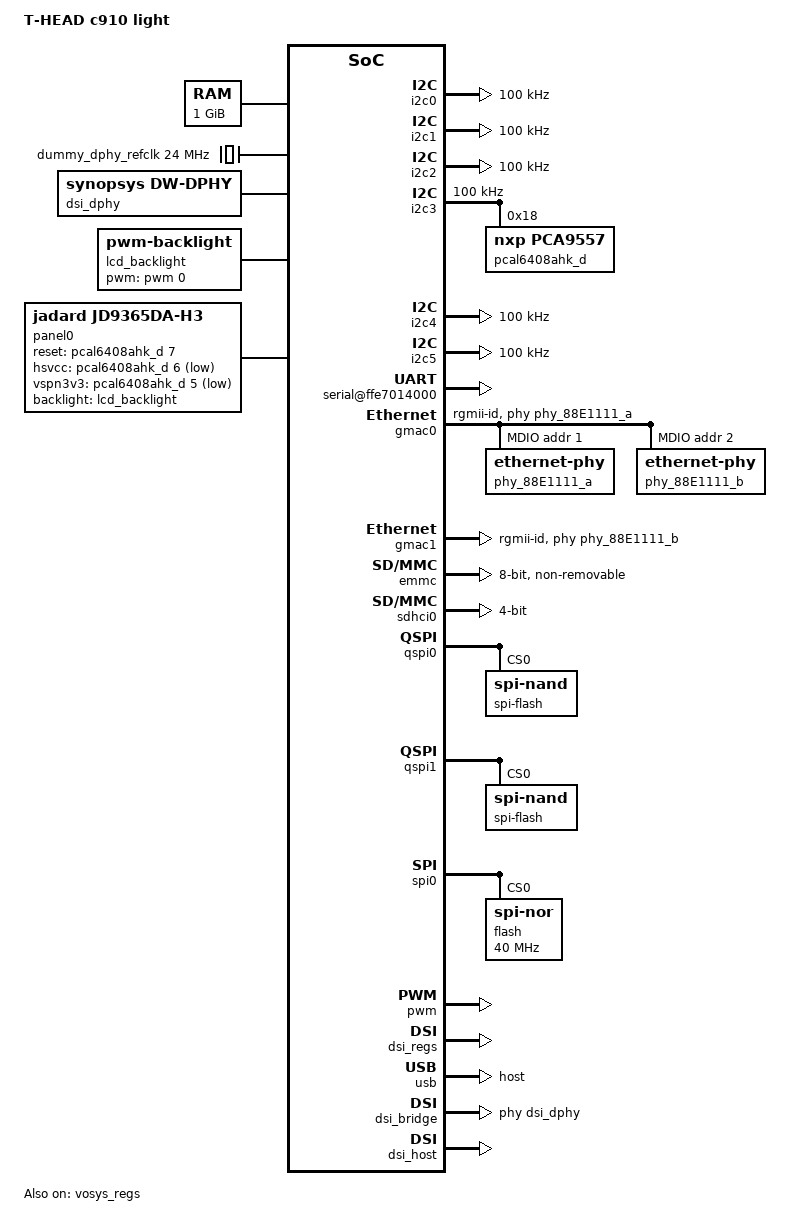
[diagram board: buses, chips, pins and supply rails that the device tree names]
/dts-v1/;

#include <dt-bindings/pmic/light_pmic.h>

/ {
	model = "T-HEAD c910 light";
	compatible = "thead,c910_light";
	#address-cells = <2>;
	#size-cells = <2>;

	memory@0 {
		device_type = "memory";
		reg = <0x0 0xc0000000 0x0 0x40000000>;
	};

	aliases {
		spi0 = &spi0;
		spi1 = &qspi0;
		spi2 = &qspi1;
	};

	cpus {
		#address-cells = <1>;
		#size-cells = <0>;
		timebase-frequency = <3000000>;
		u-boot,dm-pre-reloc;
		cpu@0 {
			device_type = "cpu";
			reg = <0>;
			status = "okay";
			compatible = "riscv";
			riscv,isa = "rv64imafdcvsu";
			mmu-type = "riscv,sv39";
			u-boot,dm-pre-reloc;
		};
	};

	soc {
		#address-cells = <2>;
		#size-cells = <2>;
		compatible = "simple-bus";
		ranges;
		u-boot,dm-pre-reloc;

		intc: interrupt-controller@ffd8000000 {
			compatible = "riscv,plic0";
			reg = <0xff 0xd8000000 0x0 0x04000000>;
			status = "disabled";
		};

		dummy_apb: apb-clock {
			compatible = "fixed-clock";
			clock-frequency = <62500000>;
			clock-output-names = "dummy_apb";
			#clock-cells = <0>;
			u-boot,dm-pre-reloc;
		};

		dummy_ahb: ahb-clock {
			compatible = "fixed-clock";
			clock-frequency = <250000000>;
			clock-output-names = "core";
			#clock-cells = <0>;
			u-boot,dm-pre-reloc;
		};

		dummy_spi: spi-clock {
			compatible = "fixed-clock";
			clock-frequency = <396000000>;
			clock-output-names = "dummy_spi";
			#clock-cells = <0>;
			u-boot,dm-pre-reloc;
		};

		dummy_qspi0: qspi0-clock {
			compatible = "fixed-clock";
			clock-frequency = <792000000>;
			clock-output-names = "dummy_qspi0";
			#clock-cells = <0>;
			u-boot,dm-pre-reloc;
		};

		dummy_uart_sclk: uart-sclk-clock {
			compatible = "fixed-clock";
			clock-frequency = <100000000>;
			clock-output-names = "dummy_uart_sclk";
			#clock-cells = <0>;
			u-boot,dm-pre-reloc;
		};

		dummy_i2c_icclk: i2c-icclk-clock {
			compatible = "fixed-clock";
			clock-frequency = <50000000>;
			clock-output-names = "dummy_i2c_icclk";
			#clock-cells = <0>;
			u-boot,dm-pre-reloc;
		};

		dummy_dpu_pixclk: dpu-pix-clock {
			compatible = "fixed-clock";
			clock-frequency = <74250000>;
			clock-output-names = "dummy_dpu_pixclk";
			#clock-cells = <0>;
			u-boot,dm-pre-reloc;
		};

		dummy_dphy_refclk: dphy-ref-clock {
			compatible = "fixed-clock";
			clock-frequency = <24000000>;
			clock-output-names = "dummy_dpu_refclk";
			#clock-cells = <0>;
			u-boot,dm-pre-reloc;
		};

		i2c0: i2c@ffe7f20000 {
			compatible = "snps,designware-i2c";
			reg = <0xff 0xe7f20000 0x0 0x4000>;
			clocks = <&dummy_i2c_icclk>;
			clock-frequency = <100000>;

			#address-cells = <1>;
			#size-cells = <0>;
		};

		i2c1: i2c@ffe7f24000{
			compatible = "snps,designware-i2c";
			reg = <0xff 0xe7f24000 0x0 0x4000>;
			clocks = <&dummy_i2c_icclk>;
			clock-frequency = <100000>;

			#address-cells = <1>;
			#size-cells = <0>;
		};

		i2c2: i2c@ffec00c000{
			compatible = "snps,designware-i2c";
			reg = <0xff 0xec00c000 0x0 0x4000>;
			clocks = <&dummy_i2c_icclk>;
			clock-frequency = <100000>;

			#address-cells = <1>;
			#size-cells = <0>;
		};

		i2c3: i2c@ffec014000{
			compatible = "snps,designware-i2c";
			reg = <0xff 0xec014000 0x0 0x4000>;
			clocks = <&dummy_i2c_icclk>;
			clock-frequency = <100000>;

			#address-cells = <1>;
			#size-cells = <0>;

			pcal6408ahk_d: gpio@20 {
				compatible = "nxp,pca9557";
				reg = <0x18>;
				gpio-controller;
				#gpio-cells = <2>;
			};
		};

		i2c4: i2c@ffe7f28000{
			compatible = "snps,designware-i2c";
			reg = <0xff 0xe7f28000 0x0 0x4000>;
			clocks = <&dummy_i2c_icclk>;
			clock-frequency = <100000>;

			#address-cells = <1>;
			#size-cells = <0>;
		};

		i2c5: i2c@fff7f2c000{
			compatible = "snps,designware-i2c";
			reg = <0xff 0xf7f2c000 0x0 0x4000>;
			clocks = <&dummy_i2c_icclk>;
			clock-frequency = <100000>;

			#address-cells = <1>;
			#size-cells = <0>;
		};

		serial@ffe7014000 {
			compatible = "snps,dw-apb-uart";
			reg = <0xff 0xe7014000 0x0 0x400>;
			clocks = <&dummy_uart_sclk>;
			clock-frequency = <100000000>;
			clock-names = "baudclk";
			reg-shift = <2>;
			reg-io-width = <4>;
			u-boot,dm-pre-reloc;
		};

		gmac0: ethernet@ffe7070000 {
			compatible = "snps,dwmac";
			reg = <0xff 0xe7070000 0x0 0x2000>;
			clocks = <&dummy_apb>;
			clock-names = "stmmaceth";
			snps,pbl = <32>;
			snps,fixed-burst;

			phy-mode = "rgmii-id";
			phy-handle = <&phy_88E1111_a>;
			status = "okay";
			mdio0 {
				#address-cells = <1>;
				#size-cells = <0>;
				compatible = "snps,dwmac-mdio";

				phy_88E1111_a: ethernet-phy@1 {
					reg = <0x1>;
				};

				phy_88E1111_b: ethernet-phy@2 {
					reg = <0x2>;
				};
			};
		};

		gmac1: ethernet@ffe7060000 {
			compatible = "snps,dwmac";
			reg = <0xff 0xe7060000 0x0 0x2000>;
			clocks = <&dummy_apb>;
			clock-names = "stmmaceth";
			snps,pbl = <32>;
			snps,fixed-burst;
			phy-mode = "rgmii-id";
			phy-handle = <&phy_88E1111_b>;
			status = "okay";
		};

		emmc: sdhci@ffe7080000 {
			compatible = "snps,dwcmshc-sdhci";
			reg = <0xff 0xe7080000 0x0 0x10000>;
			index = <0x0>;
			clocks = <&dummy_ahb>;
			clock-frequency = <198000000>;
			clock-names = "core";
			max-frequency = <198000000>;
			sdhci-caps-mask = <0x0 0x1000000>;
			mmc-hs400-1_8v;
			non-removable;
			no-sdio;
			no-sd;
			bus-width = <8>;
			voltage= "1.8v";
			pull_up;
			io_fixed_1v8;
			fifo-mode;
			u-boot,dm-pre-reloc;
		};

		sdhci0: sd@ffe7090000 {
			compatible = "snps,dwcmshc-sdhci";
			reg = <0xff 0xe7090000 0x0 0x10000>;
			index = <0x1>;
			clocks = <&dummy_ahb>;
			clock-frequency = <198000000>;
			max-frequency = <198000000>;
			sd-uhs-sdr104;
			pull_up;
			clock-names = "core";
			bus-width = <4>;
			voltage= "3.3v";
		};

		qspi0: spi@ffea000000 {
			compatible = "snps,dw-apb-ssi-quad";
			reg = <0xff 0xea000000 0x0 0x1000>;
			clocks = <&dummy_qspi0>;
			num-cs = <1>;
			cs-gpio = <&gpio2_porta 3 0>; // GPIO_ACTIVE_HIGH: 0
			spi-max-frequency = <100000000>;
			#address-cells = <1>;
			#size-cells =<0>;
			spi-flash@0 {
				#address-cells = <1>;
				#size-cells = <1>;
				compatible = "spi-nand";
				spi-tx-bus-width = <4>;
				spi-rx-bus-width = <4>;
				reg = <0>;
			};
		};

		qspi1: spi@fff8000000 {
			compatible = "snps,dw-apb-ssi-quad";
			reg = <0xff 0xf8000000 0x0 0x1000>;
			clocks = <&dummy_spi>;
			num-cs = <1>;
			cs-gpio = <&gpio0_porta 1 0>; // GPIO_ACTIVE_HIGH: 0
			spi-max-frequency = <66000000>;
			#address-cells = <1>;
			#size-cells =<0>;
			spi-flash@0 {
				#address-cells = <1>;
				#size-cells = <1>;
				compatible = "spi-nand";
				spi-tx-bus-width = <4>;
				spi-rx-bus-width = <4>;
				reg = <0>;
			};
		};

		spi0: spi@ffe700c000 {
			compatible = "snps,dw-apb-ssi";
			reg = <0xff 0xe700c000 0x0 0x1000>;
			clocks = <&dummy_spi>;
			cs-gpio = <&gpio2_porta 15 0>;
			spi-max-frequency = <100000000>;
			#address-cells = <1>;
			#size-cells = <0>;
			flash@0 {
				compatible = "jedec,spi-nor";
				reg = <0>;
				spi-max-frequency = <40000000>;
			};
		};

		gpio2: gpio@ffe7f34000 {
			compatible = "snps,dw-apb-gpio";
			reg = <0xff 0xe7f34000 0x0 0x1000>;
			clocks = <&dummy_apb>;
			#address-cells = <1>;
			#size-cells = <0>;
			gpio2_porta: gpio-controller@0 {
				compatible = "snps,dw-apb-gpio-port";
				gpio-controller;
				#gpio-cells = <2>;
				snps,nr-gpios = <32>;
				reg = <0>;
			};
		};

		gpio0: gpio@ffec005000 {
			compatible = "snps,dw-apb-gpio";
			reg = <0xff 0xec005000 0x0 0x1000>;
			clocks = <&dummy_apb>;
			#address-cells = <1>;
			#size-cells = <0>;
			gpio0_porta: gpio-controller@0 {
				compatible = "snps,dw-apb-gpio-port";
				gpio-controller;
				#gpio-cells = <2>;
				snps,nr-gpios = <32>;
				reg = <0>;
			};
		};

		gpio1: gpio@ffec006000 {
			compatible = "snps,dw-apb-gpio";
			reg = <0xff 0xec006000 0x0 0x1000>;
			clocks = <&dummy_apb>;
			#address-cells = <1>;
			#size-cells = <0>;

			gpio1_porta: gpio-controller@0 {
				compatible = "snps,dw-apb-gpio-port";
				gpio-controller;
				#gpio-cells = <2>;
				snps,nr-gpios = <32>;
				reg = <0>;
			};
		};

		pwm: pwm@ffec01c000 {
			compatible = "thead,pwm-light";
			reg = <0xff 0xec01c000 0x0 0x4000>;
			#pwm-cells = <2>;
		};

		dsi_regs: dsi-controller@ffef500000 {
			compatible = "thead,light-dsi-regs", "syscon";
			reg = <0xff 0xef500000 0x0 0x10000>;
			status = "okay";
		};

		vosys_regs: vosys@ffef528000 {
			compatible = "thead,light-vo-subsys", "syscon";
			reg = <0xff 0xef528000 0x0 0x1000>;
			status = "okay";
		};

		dpu: dc8200@ffef600000 {
			compatible = "verisilicon,dc8200";
			reg = <0xff 0xef600000 0x0 0x100>;
		};

		usb: usb@ffe7040000 {
			compatible = "snps,dwc3";
			reg = <0xff 0xe7040000 0x0 0x10000>;
			interrupts = <68>;
			reg-shift = <2>;
			reg-io-width = <4>;
			maximum-speed = "super-speed";
			dr_mode = "host";
			dma-mask = <0xf 0xffffffff>;
			snps,usb3_lpm_capable;
			snps,usb_sofitpsync;
			status = "okay";
		};

		axiscr {
			compatible = "thead,axiscr";
			reg = <0xff 0xff004000 0x0 0x1000>;
			lock-read = "okay";
			lock-write = "okay";
			#address-cells = <2>;
			#size-cells = <2>;
			u-boot,dm-pre-reloc;
			axiscr0: axisrc@0 {
				device_type = "axiscr";
				region = <0x00 0x00000000 0x00 0x80000000>; // 4KB align
				status = "disabled";
				#address-cells = <2>;
				#size-cells = <2>;
				u-boot,dm-pre-reloc;
			};
			axiscr1: axisrc@1 {
				device_type = "axiscr";
				region = <0x00 0x80000000 0x00 0x80000000>; // 4KB align
				status = "disabled";
				#address-cells = <2>;
				#size-cells = <2>;
				u-boot,dm-pre-reloc;
			};
			axiscr2: axisrc@2 {
				device_type = "axiscr";
				region = <0x01 0x00000000 0x00 0x80000000>; // 4KB align
				status = "disabled";
				#address-cells = <2>;
				#size-cells = <2>;
				u-boot,dm-pre-reloc;
			};
		};

		axiparity {
			compatible = "thead,axiparity";
			reg = <0xff 0xff00c000 0x0 0x1000>;
			lock = "okay";
			#address-cells = <2>;
			#size-cells = <2>;
			u-boot,dm-pre-reloc;
			axiparity0: axiparity@0 {
				device_type = "axiparity";
				region = <0x00 0x00000000 0x01 0x0000000>; // 4KB align
				status = "disabled";
				#address-cells = <2>;
				#size-cells = <2>;
				u-boot,dm-pre-reloc;
			};
			axiparity1: axiparity@1 {
				device_type = "axiparity";
				region = <0x01 0x00000000 0x01 0x00000000>; // 4KB align
				status = "disabled";
				#address-cells = <2>;
				#size-cells = <2>;
				u-boot,dm-pre-reloc;
			};
		};

		dsi_bridge: dsi-bridge {
			compatible = "thead,light-dsi-bridge";
			clocks = <&dummy_dpu_pixclk>;
			clock-names = "pix-clk";
			phys = <&dsi_dphy>;
			phy-names = "dphy";
		};

		dsi_host: dsi-host {
			compatible = "synopsys,dw-mipi-dsi";
			regmap = <&dsi_regs>;
			status = "okay";
		};

		dsi_dphy: dsi-dphy {
			compatible = "synopsys,dw-dphy";
			regmap = <&dsi_regs>;
			vosys-regmap = <&vosys_regs>;
			clocks = <&dummy_dpu_pixclk>, <&dummy_dphy_refclk>;
			clock-names = "pix-clk", "ref-clk";
			#phy-cells = <0>;
			status = "okay";
		};

		lcd_backlight: pwm-backlight {
			compatible = "pwm-backlight";
			pwms = <&pwm 0 5000000>;
			brightness-levels = <0 4 8 16 32 64 128 255>;
			default-brightness-level = <7>;
		};

		panel0: dsi_panel0 {
			compatible      = "jadard,jd9365da-h3";
			backlight       = <&lcd_backlight>;
			reset-gpio     = <&pcal6408ahk_d 7 0>;
			hsvcc-gpio   = <&pcal6408ahk_d 6 1>;
			vspn3v3-gpio = <&pcal6408ahk_d 5 1>;
		};

		aon {
		compatible = "thead,light-aon";
		status = "okay";

		wakeup-by-gpio-on;
		wakeup-by-rtc-on;

		pd: light-aon-pd {
			compatible = "thead,light-aon-pd";
			#power-domain-cells = <1>;
		};

		light-regu-reg {
			compatible = "thead,light-dialog-pmic";
			status = "okay";



			soc_dvdd18_aon_reg: soc_dvdd18_aon {
				regulator-name = "soc_dvdd18_aon";
				regulator-boot-on;
				regulator-always-on;
			};

			soc_avdd33_usb3_reg: soc_avdd33_usb3 {
				regulator-name = "soc_avdd33_usb3";
				regulator-boot-on;
				regulator-always-on;
			};

			soc_dvdd08_aon_reg: soc_dvdd08_aon {
				regulator-name = "soc_dvdd08_aon";
				regulator-boot-on;
				regulator-always-on;
			};

			soc_apcpu_dvdd_dvddm_reg: soc_apcpu_dvdd_dvddm {
				regulator-name = "soc_apcpu_dvdd_dvddm";
				regulator-min-microvolt = <300000>;
				regulator-max-microvolt = <1570000>;
				regulator-boot-on;
				regulator-always-on;
			};

			soc_dvdd08_ddr_reg: soc_dvdd08_ddr {
				regulator-name = "soc_dvdd08_ddr";
				regulator-boot-on;
				regulator-always-on;
			};

			soc_vdd_ddr_1v8_reg: soc_vdd_ddr_1v8 {
				regulator-name = "soc_vdd_ddr_1v8";
				regulator-boot-on;
				regulator-always-on;
			};

			soc_vdd_ddr_1v1_reg: soc_vdd_ddr_1v1 {
				regulator-name = "soc_vdd_ddr_1v1";
				regulator-boot-on;
				regulator-always-on;
			};

			soc_vdd_ddr_0v6_reg: soc_vdd_ddr_0v6 {
				regulator-name = "soc_vdd_ddr_0v6";
				regulator-boot-on;
				regulator-always-on;
			};

			soc_dvdd18_ap_reg: soc_dvdd18_ap {
				regulator-name = "soc_dvdd18_ap";
				regulator-boot-on;
				regulator-always-on;
			};

			soc_dvdd08_ap_reg: soc_dvdd08_ap {
				regulator-name = "soc_dvdd08_ap";
				regulator-boot-on;
				regulator-always-on;
			};

			soc_avdd08_mipi_hdmi_reg: soc_avdd08_mipi_hdmi {
				regulator-name = "soc_avdd08_mipi_hdmi";
				regulator-boot-on;
				regulator-always-on;
			};

			soc_avdd18_mipi_hdmi_reg: soc_avdd18_mipi_hdmi {
				regulator-name = "soc_avdd18_mipi_hdmi";
				regulator-boot-on;
				regulator-always-on;
			};

			soc_dvdd33_emmc_reg: soc_dvdd33_emmc {
				regulator-name = "soc_dvdd33_emmc";
				regulator-boot-on;
				regulator-always-on;
			};

			soc_dvdd18_emmc_reg: soc_dvdd18_emmc {
				regulator-name = "soc_vdd18_emmc";
				regulator-boot-on;
				regulator-always-on;
			};
			soc_dovdd18_scan_reg: soc_dovdd18_scan {
				regulator-name = "soc_dovdd18_scan";
				regulator-min-microvolt = <900000>;
				regulator-max-microvolt = <3600000>;
			};
			soc_vext_2v8_reg: soc_vext_2v8 {
				regulator-name = "soc_vext_2v8";
				regulator-boot-on;
				regulator-always-on;
				status = "disabled";
			};
			soc_dvdd12_scan_reg: soc_dvdd12_scan {
				regulator-name = "soc_dvdd12_scan";
				regulator-min-microvolt = <900000>;
				regulator-max-microvolt = <3600000>;
			};
			soc_avdd28_scan_en_reg: soc_avdd28_scan_en {
				regulator-name = "soc_avdd28_scan_en";
				regulator-min-microvolt = <2800000>;
				regulator-max-microvolt = <2800000>;
			};
			soc_avdd28_rgb_reg: soc_avdd28_rgb {
				regulator-name = "soc_avdd28_rgb";
				regulator-min-microvolt = <2200000>;
				regulator-max-microvolt = <3475000>;
				regulator-boot-on;
				regulator-always-on;
				status = "disabled";
			};
			soc_dovdd18_rgb_reg: soc_dovdd18_rgb {
				regulator-name = "soc_dovdd18_rgb";
				regulator-min-microvolt = <1200000>;
				regulator-max-microvolt = <3600000>;
				regulator-boot-on;
				regulator-always-on;
				status = "disabled";
			};
			soc_dvdd12_rgb_reg: soc_dvdd12_rgb {
				regulator-name = "soc_dvdd12_rgb";
				regulator-min-microvolt = <400000>;
				regulator-max-microvolt = <1675000>;
				regulator-boot-on;
				regulator-always-on;
				status = "disabled";
			};
			soc_avdd25_ir_reg: soc_avdd25_ir {
				regulator-name = "soc_avdd25_ir";
				regulator-min-microvolt = <2200000>;
				regulator-max-microvolt = <3475000>;
				regulator-boot-on;
				regulator-always-on;
				status = "disabled";
			};
			soc_dovdd18_ir_reg: soc_dovdd18_ir {
				regulator-name = "soc_dovdd18_ir";
				regulator-min-microvolt = <1200000>;
				regulator-max-microvolt = <3600000>;
				regulator-boot-on;
				regulator-always-on;
				status = "disabled";
			};
			soc_dvdd12_ir_reg: soc_dvdd12_ir {
				regulator-name = "soc_dvdd12_ir";
				regulator-min-microvolt = <400000>;
				regulator-max-microvolt = <1675000>;
				regulator-boot-on;
				regulator-always-on;
				status = "disabled";
			};
	   };

	    aon_pmic_config {
			compatible = "thead,light-pmic-conf";
			status = "okay";

			#address-cells = <1>;
			#size-cells = <0>;
			iic-config = <0 0 2>;
			pmic_dev_0: pmic-dev@0 {
			  pmic-name = "dialog,da9063,v1";
			  pmic-addr = <0x5a 0x5b>;
			  pmic_wdt_on;
			  status = "okay";
			};

			pmic_dev_1: pmic-dev@1 {
			  pmic-name = "dialog,da9121,v1";
			  pmic-addr = <0x68>;
			  status = "okay";
			};

			regu_config_0 {
                reg_info = <&soc_dvdd18_aon_reg>;
				status = "okay";
				regu_id@0 {
                    pmic_dev = <&pmic_dev_0 DA9063_ID_LDO3>;
				};
			};

			regu_config_1 {
                reg_info = <&soc_avdd33_usb3_reg>;
				status = "okay";
				regu_id@0 {
                    pmic_dev = <&pmic_dev_0 DA9063_ID_LDO9>;
				};
			};

			regu_config_2 {
                reg_info = <&soc_dvdd08_aon_reg>;
				status = "okay";
				regu_id@0 {
                    pmic_dev = <&pmic_dev_0 DA9063_ID_LDO2>;
				};
			};

			regu_config_3 {
                reg_info = <&soc_apcpu_dvdd_dvddm_reg>;
				status = "okay";
				regu_id@0 {
                    pmic_dev = <&pmic_dev_0 DA9063_ID_BCORE1>;
					auto_on_info = <0 0 800000>;
				};

				regu_id@1 {
                    pmic_dev = <&pmic_dev_0 DA9063_ID_BCORE2>;
					auto_on_info = <1 0 800000>;
				};

				regu_id@2 {
                    pmic_dev = <&pmic_dev_0 DA9063_ID_BUCKIO>;
					auto_on_info = <2 0 800000>;
				};

				coupling_info@0 {
					negative-min;
                    info = <0 2 5 30>;
				};

				coupling_info@1 {
					negative-min;
                    info = <1 2 5 30>;
				};
			};

			regu_config_4 {
                reg_info = <&soc_dvdd08_ddr_reg>;
				status = "okay";
				regu_id@0 {
                    pmic_dev = <&pmic_dev_0 DA9063_ID_BUCKPERI>;
				};
			};

			regu_config_5 {
                reg_info = <&soc_vdd_ddr_1v8_reg>;
				status = "okay";
				regu_id@0 {
                    pmic_dev = <&pmic_dev_0 DA9063_ID_LDO4>;
				};
			};

		    regu_config_6 {
                reg_info = <&soc_vdd_ddr_1v1_reg>;
				status = "okay";
				regu_id@0 {
                    pmic_dev = <&pmic_dev_0 DA9063_ID_BUCKMEM>;
				};
			};

			regu_config_7 {
                reg_info = <&soc_vdd_ddr_0v6_reg>;
				status = "okay";
				regu_id@0 {
                    pmic_dev = <&pmic_dev_0 DA9063_ID_BUCKPRO>;
				};
			};

			regu_config_8 {
                reg_info = <&soc_dvdd18_ap_reg>;
				status = "okay";
				regu_id@0 {
                    pmic_dev = <&pmic_dev_0 DA9063_ID_LDO11>;
				};
			};

            regu_config_9 {
                reg_info = <&soc_avdd08_mipi_hdmi_reg>;
				status = "okay";
				regu_id@0 {
					pmic_dev = <&pmic_dev_0 DA9063_ID_LDO1>;
				};
			};

			regu_config_10 {
                reg_info = <&soc_avdd18_mipi_hdmi_reg>;
				status = "okay";
				regu_id@0 {
                    pmic_dev = <&pmic_dev_0 DA9063_ID_LDO5>;
				};
			};

			regu_config_11 {
                reg_info = <&soc_dvdd33_emmc_reg>;
				status = "okay";
				regu_id@0 {
                    pmic_dev = <&pmic_dev_0 DA9063_ID_LDO10>;
				};
			};

			regu_config_12 {
                reg_info = <&soc_dovdd18_scan_reg>;
				status = "okay";
				regu_id@0 {
                    pmic_dev = <&pmic_dev_0 DA9063_ID_LDO6>;
					auto_on_info = <3 1 1800000>;
					auto_off_info = <1 1>;
				};
			};


			regu_config_13 {
                reg_info = <&soc_dvdd12_scan_reg>;
				status = "okay";
				regu_id@0 {
                    pmic_dev = <&pmic_dev_0 DA9063_ID_LDO8>;
					auto_on_info = <4 1 1200000>;
					auto_off_info = <2 1>;
				};
			};

			regu_config_14 {
                reg_info = <&soc_avdd28_scan_en_reg>;
				status = "okay";
				regu_id@0 {
                    pmic_dev = <&pmic_dev_0 DA9063_ID_LDO7>;
					auto_on_info = <5 1 2800000>;
					auto_off_info = <0 1>;
				};
			};

			regu_config_15 {
                reg_info = <&soc_dvdd08_ap_reg>;
				status = "okay";
				regu_id@0 {
                    pmic_dev = <&pmic_dev_1 DA9121_ID_BUCK1>;
                    parent_pmic_dev = <&pmic_dev_0 2 0>;
				};
			};

			regu_config_16 {
                reg_info = <&soc_dvdd18_emmc_reg>;
				status = "okay";
				regu_id@0 {
                    pmic_dev = <&pmic_dev_0 DA9063_ID_GPIO7>;
					parent_pmic_dev = <&pmic_dev_0 7 0>;
				};
			};
		};
	};

	};

	chosen {
		bootargs = "console=ttyS0,115200";
		stdout-path = "/soc/serial@ffe7014000:115200";
	};
};
